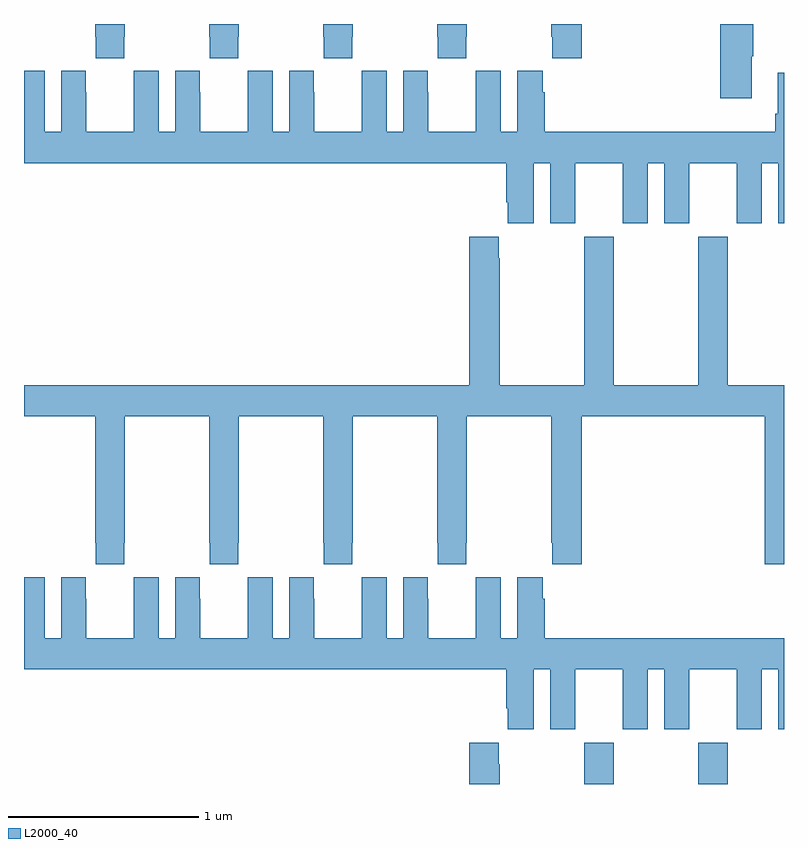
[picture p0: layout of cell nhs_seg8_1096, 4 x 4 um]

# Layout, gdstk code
import gdstk
lib = gdstk.Library(unit=1e-6, precision=1e-09)
def R(c, l, rs):  # rectangles x0, y0, x1, y1
    for r in rs: c.add(gdstk.rectangle(r[:2], r[2:], *l))
def P(c, l, *ps):  # polygons
    for p in ps: c.add(gdstk.Polygon(p, *l))
L2000_40 = (2000, 40)

nhs_seg8_1096 = lib.new_cell('nhs_seg8_1096')
R(nhs_seg8_1096, L2000_40, [(183.949,1111.9,184.104,1112.116), (184.549,1111.9,184.704,1112.116)])
P(nhs_seg8_1096, L2000_40, [(183.327,1115.833),(183.33,1115.833),(183.33,1115.9),(183.175,1115.9),(183.175,1115.833),(183.177,1115.833),(183.177,1115.721),(183.327,1115.721)],
  [(184.831,1115.731),(184.839,1115.731),(184.839,1115.9),(184.664,1115.9),(184.664,1115.508),(184.831,1115.508)],
  [(183.935,1115.9),(183.775,1115.9),(183.775,1115.833),(183.781,1115.833),(183.781,1115.721),(183.935,1115.721)],
  [(182.727,1115.833),(182.73,1115.833),(182.73,1115.9),(182.575,1115.9),(182.575,1115.833),(182.577,1115.833),(182.577,1115.721),(182.727,1115.721)],
  [(182.127,1115.833),(182.13,1115.833),(182.13,1115.9),(181.975,1115.9),(181.975,1115.833),(181.977,1115.833),(181.977,1115.721),(182.127,1115.721)],
  [(181.527,1115.833),(181.53,1115.833),(181.53,1115.9),(181.375,1115.9),(181.375,1115.833),(181.377,1115.833),(181.377,1115.721),(181.527,1115.721)],
  [(182.178,1115.653),(182.178,1115.54),(182.177,1115.54),(182.177,1115.332),(181.927,1115.332),(181.927,1115.54),(181.926,1115.54),(181.926,1115.653),(181.796,1115.653),(181.796,1115.332),(181.708,1115.332),(181.708,1115.653),(181.578,1115.653),(181.578,1115.54),(181.577,1115.54),(181.577,1115.332),(181.327,1115.332),(181.327,1115.54),(181.326,1115.54),(181.326,1115.653),(181.196,1115.653),(181.196,1115.332),(181.108,1115.332),(181.108,1115.653),(181,1115.653),(181,1115.168),(183.539,1115.168),(183.539,1114.963),(183.545,1114.963),(183.545,1114.851),(183.682,1114.851),(183.682,1115.168),(183.77,1115.168),(183.77,1114.851),(183.901,1114.851),(183.901,1115.168),(184.151,1115.168),(184.151,1114.851),(184.282,1114.851),(184.282,1115.168),(184.37,1115.168),(184.37,1114.851),(184.501,1114.851),(184.501,1115.168),(184.751,1115.168),(184.751,1114.851),(184.882,1114.851),(184.882,1115.168),(184.97,1115.168),(184.97,1114.851),(185,1114.851),(185,1115.644),(184.967,1115.644),(184.967,1115.428),(184.955,1115.428),(184.955,1115.332),(183.74,1115.332),(183.74,1115.54),(183.73,1115.54),(183.73,1115.653),(183.596,1115.653),(183.596,1115.332),(183.508,1115.332),(183.508,1115.653),(183.378,1115.653),(183.378,1115.54),(183.377,1115.54),(183.377,1115.332),(183.127,1115.332),(183.127,1115.54),(183.126,1115.54),(183.126,1115.653),(182.996,1115.653),(182.996,1115.332),(182.908,1115.332),(182.908,1115.653),(182.778,1115.653),(182.778,1115.54),(182.777,1115.54),(182.777,1115.332),(182.527,1115.332),(182.527,1115.54),(182.526,1115.54),(182.526,1115.653),(182.396,1115.653),(182.396,1115.332),(182.308,1115.332),(182.308,1115.653)],
  [(181.527,1113.169),(181.53,1113.169),(181.53,1113.836),(181.975,1113.836),(181.975,1113.169),(181.977,1113.169),(181.977,1113.057),(182.127,1113.057),(182.127,1113.169),(182.13,1113.169),(182.13,1113.836),(182.575,1113.836),(182.575,1113.169),(182.577,1113.169),(182.577,1113.057),(182.727,1113.057),(182.727,1113.169),(182.73,1113.169),(182.73,1113.836),(183.175,1113.836),(183.175,1113.169),(183.177,1113.169),(183.177,1113.057),(183.327,1113.057),(183.327,1113.169),(183.33,1113.169),(183.33,1113.836),(183.775,1113.836),(183.775,1113.169),(183.781,1113.169),(183.781,1113.057),(183.935,1113.057),(183.935,1113.836),(184.898,1113.836),(184.898,1113.057),(185,1113.057),(185,1114),(184.704,1114),(184.704,1114.78),(184.549,1114.78),(184.549,1114),(184.104,1114),(184.104,1114.78),(183.949,1114.78),(183.949,1114),(183.504,1114),(183.504,1114.667),(183.499,1114.667),(183.499,1114.78),(183.344,1114.78),(183.344,1114),(181,1114),(181,1113.836),(181.375,1113.836),(181.375,1113.169),(181.377,1113.169),(181.377,1113.057),(181.527,1113.057)],
  [(183.682,1112.504),(183.77,1112.504),(183.77,1112.187),(183.901,1112.187),(183.901,1112.504),(184.151,1112.504),(184.151,1112.187),(184.282,1112.187),(184.282,1112.504),(184.37,1112.504),(184.37,1112.187),(184.501,1112.187),(184.501,1112.504),(184.751,1112.504),(184.751,1112.187),(184.882,1112.187),(184.882,1112.504),(184.97,1112.504),(184.97,1112.187),(185,1112.187),(185,1112.668),(183.74,1112.668),(183.74,1112.876),(183.73,1112.876),(183.73,1112.989),(183.596,1112.989),(183.596,1112.668),(183.508,1112.668),(183.508,1112.989),(183.378,1112.989),(183.378,1112.876),(183.377,1112.876),(183.377,1112.668),(183.127,1112.668),(183.127,1112.876),(183.126,1112.876),(183.126,1112.989),(182.996,1112.989),(182.996,1112.668),(182.908,1112.668),(182.908,1112.989),(182.778,1112.989),(182.778,1112.876),(182.777,1112.876),(182.777,1112.668),(182.527,1112.668),(182.527,1112.876),(182.526,1112.876),(182.526,1112.989),(182.396,1112.989),(182.396,1112.668),(182.308,1112.668),(182.308,1112.989),(182.178,1112.989),(182.178,1112.876),(182.177,1112.876),(182.177,1112.668),(181.927,1112.668),(181.927,1112.876),(181.926,1112.876),(181.926,1112.989),(181.796,1112.989),(181.796,1112.668),(181.708,1112.668),(181.708,1112.989),(181.578,1112.989),(181.578,1112.876),(181.577,1112.876),(181.577,1112.668),(181.327,1112.668),(181.327,1112.876),(181.326,1112.876),(181.326,1112.989),(181.196,1112.989),(181.196,1112.668),(181.108,1112.668),(181.108,1112.989),(181,1112.989),(181,1112.504),(183.539,1112.504),(183.539,1112.299),(183.545,1112.299),(183.545,1112.187),(183.682,1112.187)],
  [(183.504,1112.003),(183.499,1112.003),(183.499,1112.116),(183.344,1112.116),(183.344,1111.9),(183.504,1111.9)])

lib.write_gds('nhs_seg8_1096.gds')
